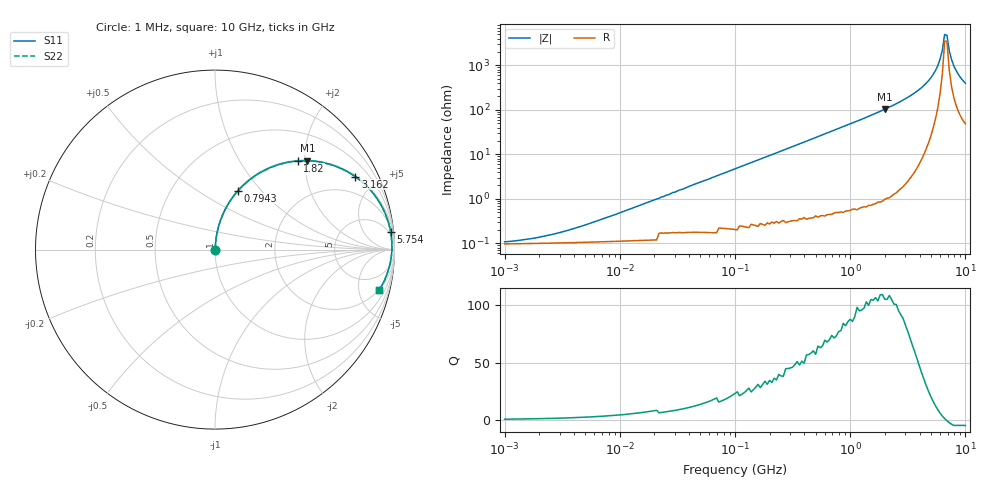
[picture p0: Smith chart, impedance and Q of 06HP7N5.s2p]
# MHz S MA R 50
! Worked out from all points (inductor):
!   201 points, 1 MHz to 10 GHz, reference 50 ohm
!   read as one part in series: L = 7.5 nH near 6.918 MHz
!   highest Q = 109 at 1.995 GHz (marker M1), where L = 8.22 nH
!   self-resonance near 6.607 GHz
!   S11 on the Smith chart (normalised r, x): 1 MHz: 1.00, +0.00; 794.3 MHz: 1.01, +0.76; 1.82 GHz: 1.02, +1.85; 3.162 GHz: 1.05, +3.82; 5.754 GHz: 3, +19; 10 GHz: 1.95, -7.86
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1  0.001051 26.6  0.999 -0.0  0.999 -0.0  0.001051 26.6
2.188  0.00144 45.6  0.999 -0.1  0.999 -0.1  0.00144 45.6
4.786  0.002509 63.7  0.999 -0.1  0.999 -0.1  0.002509 63.7
21.878  0.01 81.4  0.998 -0.6  0.998 -0.6  0.01 81.4
104.713  0.049 84.6  0.997 -2.8  0.997 -2.8  0.049 84.6
478.63  0.22 76.3  0.972 -12.7  0.972 -12.7  0.22 76.3
794.328  0.353 68.6  0.931 -20.7  0.931 -20.7  0.353 68.6
1202.264  0.503 59.2  0.859 -30.2  0.859 -30.2  0.503 59.2
1819.701  0.676 47.0  0.731 -42.5  0.731 -42.5  0.676 47.0
1995.262  0.714 43.9  0.693 -45.6  0.693 -45.6  0.714 43.9
2187.762  0.752 40.7  0.653 -48.7  0.653 -48.7  0.752 40.7
3162.278  0.881 27.5  0.462 -61.8  0.462 -61.8  0.881 27.5
4570.882  0.962 14.0  0.242 -74.1  0.242 -74.1  0.962 14.0
5248.075  0.978 9.0  0.157 -77.4  0.157 -77.4  0.978 9.0
5754.399  0.984 5.7  0.101 -77.8  0.101 -77.8  0.984 5.7
6309.573  0.986 2.5  0.045 -70.5  0.045 -70.5  0.986 2.5
6606.934  0.986 0.8  0.02 -44.6  0.02 -44.6  0.986 0.8
6918.31  0.985 -0.8  0.021 41.8  0.021 41.8  0.985 -0.8
7244.36  0.983 -2.4  0.046 66.2  0.046 66.2  0.983 -2.4
7943.282  0.976 -5.7  0.101 73.2  0.101 73.2  0.976 -5.7
8709.636  0.965 -8.9  0.156 72.7  0.156 72.7  0.965 -8.9
10000  0.943 -13.7  0.238 69.3  0.238 69.3  0.943 -13.7
